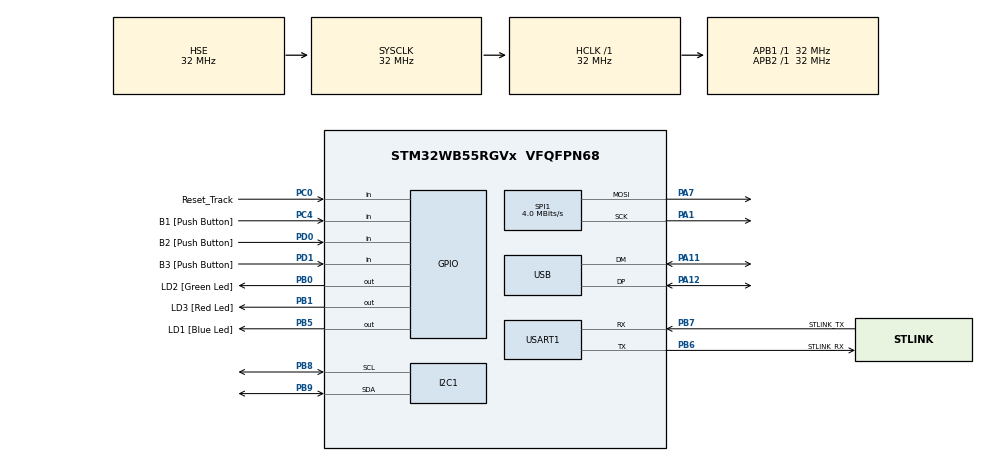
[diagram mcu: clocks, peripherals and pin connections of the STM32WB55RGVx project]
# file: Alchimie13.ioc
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Dma.Request0=SPI1_TX
Dma.SPI1_TX.0.Direction=DMA_MEMORY_TO_PERIPH
Dma.SPI1_TX.0.EventEnable=DISABLE
Dma.SPI1_TX.0.Instance=DMA1_Channel1
Dma.SPI1_TX.0.MemDataAlignment=DMA_MDATAALIGN_BYTE
Dma.SPI1_TX.0.MemInc=DMA_MINC_ENABLE
Dma.SPI1_TX.0.Mode=DMA_NORMAL
Dma.SPI1_TX.0.PeriphDataAlignment=DMA_PDATAALIGN_BYTE
Dma.SPI1_TX.0.PeriphInc=DMA_PINC_DISABLE
Dma.SPI1_TX.0.Polarity=HAL_DMAMUX_REQ_GEN_RISING
Dma.SPI1_TX.0.Priority=DMA_PRIORITY_VERY_HIGH
Dma.SPI1_TX.0.RequestNumber=1
Dma.SPI1_TX.0.SignalID=NONE
Dma.SPI1_TX.0.SyncEnable=DISABLE
Dma.SPI1_TX.0.SyncPolarity=HAL_DMAMUX_SYNC_NO_EVENT
Dma.SPI1_TX.0.SyncRequestNumber=1
Dma.SPI1_TX.0.SyncSignalID=NONE
I2C1.Timing=0x00707CBB
Mcu.Family=STM32WB
Mcu.Name=STM32WB55RGVx
Mcu.Package=VFQFPN68
NVIC.DMA1_Channel1_IRQn=true\:0\:0\:false\:false\:true\:false\:true
NVIC.PriorityGroup=NVIC_PRIORITYGROUP_4
OSC_IN.Mode=HSE-External-Oscillator
OSC_IN.Signal=RCC_OSC_IN
OSC_OUT.Mode=HSE-External-Oscillator
OSC_OUT.Signal=RCC_OSC_OUT
PA1.GPIO_Speed=GPIO_SPEED_FREQ_VERY_HIGH
PA1.Mode=TX_Only_Simplex_Unidirect_Master
PA1.Signal=SPI1_SCK
PA11.Mode=Device
PA11.Signal=USB_DM
PA12.Mode=Device
PA12.Signal=USB_DP
PA13.GPIO_Label=JTMS
PA13.Mode=Trace_Asynchronous_SW
PA13.Signal=SYS_JTMS-SWDIO
PA14.GPIO_Label=JTCK
PA14.Mode=Trace_Asynchronous_SW
PA14.Signal=SYS_JTCK-SWCLK
PA7.GPIO_Speed=GPIO_SPEED_FREQ_VERY_HIGH
PA7.Mode=TX_Only_Simplex_Unidirect_Master
PA7.Signal=SPI1_MOSI
PB0.GPIO_Label=LD2 [Green Led]
PB0.Signal=GPIO_Output
PB1.GPIO_Label=LD3 [Red Led]
PB1.Signal=GPIO_Output
PB3.GPIO_Label=JTDO
PB3.Mode=Trace_Asynchronous_SW
PB3.Signal=SYS_JTDO-SWO
PB5.GPIO_Label=LD1 [Blue Led]
PB5.Signal=GPIO_Output
PB6.GPIO_Label=STLINK_RX
PB6.Mode=Asynchronous
PB6.Signal=USART1_TX
PB7.GPIO_Label=STLINK_TX
PB7.Mode=Asynchronous
PB7.Signal=USART1_RX
PB8.Mode=I2C
PB8.Signal=I2C1_SCL
PB9.Mode=I2C
PB9.Signal=I2C1_SDA
PC0.GPIO_Label=Reset_Track
PC0.GPIO_Mode=GPIO_MODE_INPUT
PC0.GPIO_PuPd=GPIO_PULLDOWN
PC0.Signal=GPIO_Input
PC13.Mode=SYS_WakeUp1
PC13.Signal=SYS_WKUP2
PC14-OSC32_IN.Mode=LSE-External-Oscillator
PC14-OSC32_IN.Signal=RCC_OSC32_IN
PC15-OSC32_OUT.Mode=LSE-External-Oscillator
PC15-OSC32_OUT.Signal=RCC_OSC32_OUT
PC4.GPIO_Label=B1 [Push Button]
PC4.Signal=GPIO_Input
PD0.GPIO_Label=B2 [Push Button]
PD0.Signal=GPIO_Input
PD1.GPIO_Label=B3 [Push Button]
PD1.Signal=GPIO_Input
ProjectManager.HeapSize=0x200
ProjectManager.StackSize=0x400
ProjectManager.TargetToolchain=TrueSTUDIO
RCC.ADCFreq_Value=48000000
RCC.AHBFreq_Value=32000000
RCC.APB1Freq_Value=32000000
RCC.APB1TimFreq_Value=32000000
RCC.APB2Freq_Value=32000000
RCC.APB2TimFreq_Value=32000000
RCC.APB3Freq_Value=16000000
RCC.CortexFreq_Value=32000000
RCC.HCLKFreq_Value=32000000
RCC.HSE_VALUE=32000000
RCC.HSI48_VALUE=48000000
RCC.HSI_VALUE=16000000
RCC.PLLN=32
RCC.PLLSAI1N=24
RCC.SMPSCLockSelectionVirtual=RCC_SMPSCLKSOURCE_HSI
RCC.SYSCLKFreq_VALUE=32000000
RCC.SYSCLKSource=RCC_SYSCLKSOURCE_HSE
RCC.USBFreq_Value=48000000
RCC.VCOOutputFreq_Value=128000000
SPI1.BaudRatePrescaler=SPI_BAUDRATEPRESCALER_8
SPI1.CLKPhase=SPI_PHASE_2EDGE
SPI1.CalculateBaudRate=4.0 MBits/s
SPI1.DataSize=SPI_DATASIZE_8BIT
SPI1.Direction=SPI_DIRECTION_2LINES
SPI1.Mode=SPI_MODE_MASTER
SPI1.VirtualType=VM_MASTER
USART1.VirtualMode-Asynchronous=VM_ASYNC
board=P-NUCLEO-WB55-Nucleo

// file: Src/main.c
/* USER CODE BEGIN Header */
/**
  ******************************************************************************
  * @file           : main.c
  * @brief          : Main program body
  ******************************************************************************
  * @attention
  *
  * <h2><center>&copy; Copyright (c) 2019 STMicroelectronics.
  * All rights reserved.</center></h2>
  *
  * This software component is licensed by ST under BSD 3-Clause license,
  * the "License"; You may not use this file except in compliance with the
  * License. You may obtain a copy of the License at:
  *                        opensource.org/licenses/BSD-3-Clause
  *
  ******************************************************************************
  */
/* USER CODE END Header */

#include "main.h"

/* USER CODE BEGIN Includes */

#include "segments.h"
#include "leds.h"
#include "pattern.h"

/* USER CODE END Includes */

I2C_HandleTypeDef hi2c1;

SPI_HandleTypeDef hspi1;
DMA_HandleTypeDef hdma_spi1_tx;

UART_HandleTypeDef huart1;

PCD_HandleTypeDef hpcd_USB_FS;

/* USER CODE BEGIN PV */

int scoreRed = 0;
int scoreYellow = 0;
int redPressed = 0;
int yellowPressed = 0;

int patternOffset = 0;

/* USER CODE END PV */

void SystemClock_Config(void);
static void MX_GPIO_Init(void);
static void MX_DMA_Init(void);
static void MX_USART1_UART_Init(void);
static void MX_USB_PCD_Init(void);
static void MX_I2C1_Init(void);
static void MX_SPI1_Init(void);

/* USER CODE BEGIN 0 */

void resetAll() {
	patternOffset = 0;
	leds_resetNotes();
}

void initLedColors() {
	int col=16;
	int colBoost = 24;
	  for(int led=0; led<4; ++led) {
		  setLedColor(0+led, col, 0, 0);
		  setLedColor(4+led, 0, col, 0);
		  setLedColor(8+led, 0, 0, colBoost);
		  setLedColor(12+led, col, 0, col);
		  setLedColor(16+led, 0, col, col);
		  setLedColor(20+led, col, col, 0);
	  }
}

void printScore() {
	char text[4] = {' ', ' ', ' ', ' '};
	int left = scoreRed % 10;
	int right = scoreYellow % 10;
	text[0] = '0' + left;
	text[3] = '0' + right;
	segments_print(&hi2c1, 0x70, text);
}

printNotes() {
	char text[4] = {' ', ' ', ' ', ' '};
	for(int i=0; i<4; ++i) {
		int note = pattern[patternOffset+i];
		if (note > 0) {
			text[i] = '-';
		}
	}
	segments_print(&hi2c1, 0x70, text);
}

/* USER CODE END 0 */

int main(void)
{

  /* MCU Configuration--------------------------------------------------------*/

  /* Reset of all peripherals, Initializes the Flash interface and the Systick. */
  HAL_Init();

  /* Configure the system clock */
  SystemClock_Config();

  /* Initialize all configured peripherals */
  MX_GPIO_Init();
  MX_DMA_Init();
  MX_USART1_UART_Init();
  MX_USB_PCD_Init();
  MX_I2C1_Init();
  MX_SPI1_Init();
  /* USER CODE BEGIN 2 */

  segments_init(&hi2c1, 0x70);
  printScore();

  resetLeds();
//  initLedColors();
  updateLeds(&hspi1);

  /* USER CODE END 2 */

  /* Infinite loop */
  /* USER CODE BEGIN WHILE */

  int speed = 2;

  int waitValue = (140 - 3)/speed;

  int skip4 = 0;

  while (1)
  {
	  for(int i=0; i<speed; ++i) {
		  HAL_Delay(waitValue);
		  for(int voice=0; voice<4; ++voice) {
			  leds_scrollNote(voice);
		  }
	  }

	  printNotes();

	  if (skip4 == 0) {
		  for(int voice=0; voice<4; ++voice) {
//			  if (pattern[patternOffset + voice] > 0) {
				  leds_playNote(voice);
//			  }
		  }
	  }
	  skip4 = ((skip4 + 1) & 3);

	  patternOffset += 4;
	  if (patternOffset >= sizeof(pattern) / sizeof(int)) {
		  patternOffset = 0;
	  }
	  updateLeds(&hspi1);
		//rotateLeds();

	  GPIO_PinState resetButton = HAL_GPIO_ReadPin(Reset_Track_GPIO_Port, Reset_Track_Pin);
	  while(resetButton == GPIO_PIN_SET) {
		  resetButton = HAL_GPIO_ReadPin(Reset_Track_GPIO_Port, Reset_Track_Pin);
		  resetAll();
		  HAL_Delay(1);
	  }

	  //scoreRed = ((scoreRed + 1) % 10);
	  //printScore();

    /* USER CODE END WHILE */

  }
}

void SystemClock_Config(void)
{
  RCC_OscInitTypeDef RCC_OscInitStruct = {0};
  RCC_ClkInitTypeDef RCC_ClkInitStruct = {0};
  RCC_PeriphCLKInitTypeDef PeriphClkInitStruct = {0};

  /** Macro to configure the PLL multiplication factor
  */
  __HAL_RCC_PLL_PLLM_CONFIG(RCC_PLLM_DIV1);
  /** Macro to configure the PLL clock source
  */
  __HAL_RCC_PLL_PLLSOURCE_CONFIG(RCC_PLLSOURCE_MSI);
  /** Configure LSE Drive Capability
  */
  __HAL_RCC_LSEDRIVE_CONFIG(RCC_LSEDRIVE_LOW);
  /** Configure the main internal regulator output voltage
  */
  __HAL_PWR_VOLTAGESCALING_CONFIG(PWR_REGULATOR_VOLTAGE_SCALE1);
  /** Initializes the CPU, AHB and APB busses clocks
  */
  RCC_OscInitStruct.OscillatorType = RCC_OSCILLATORTYPE_HSI|RCC_OSCILLATORTYPE_HSE
                              |RCC_OSCILLATORTYPE_LSE|RCC_OSCILLATORTYPE_MSI;
  RCC_OscInitStruct.HSEState = RCC_HSE_ON;
  RCC_OscInitStruct.LSEState = RCC_LSE_ON;
  RCC_OscInitStruct.HSIState = RCC_HSI_ON;
  RCC_OscInitStruct.MSIState = RCC_MSI_ON;
  RCC_OscInitStruct.HSICalibrationValue = RCC_HSICALIBRATION_DEFAULT;
  RCC_OscInitStruct.MSICalibrationValue = RCC_MSICALIBRATION_DEFAULT;
  RCC_OscInitStruct.MSIClockRange = RCC_MSIRANGE_6;
  RCC_OscInitStruct.PLL.PLLState = RCC_PLL_NONE;
  if (HAL_RCC_OscConfig(&RCC_OscInitStruct) != HAL_OK)
  {
    Error_Handler();
  }
  /** Configure the SYSCLKSource, HCLK, PCLK1 and PCLK2 clocks dividers
  */
  RCC_ClkInitStruct.ClockType = RCC_CLOCKTYPE_HCLK4|RCC_CLOCKTYPE_HCLK2
                              |RCC_CLOCKTYPE_HCLK|RCC_CLOCKTYPE_SYSCLK
                              |RCC_CLOCKTYPE_PCLK1|RCC_CLOCKTYPE_PCLK2;
  RCC_ClkInitStruct.SYSCLKSource = RCC_SYSCLKSOURCE_HSE;
  RCC_ClkInitStruct.AHBCLKDivider = RCC_SYSCLK_DIV1;
  RCC_ClkInitStruct.APB1CLKDivider = RCC_HCLK_DIV1;
  RCC_ClkInitStruct.APB2CLKDivider = RCC_HCLK_DIV1;
  RCC_ClkInitStruct.AHBCLK2Divider = RCC_SYSCLK_DIV1;
  RCC_ClkInitStruct.AHBCLK4Divider = RCC_SYSCLK_DIV1;

  if (HAL_RCC_ClockConfig(&RCC_ClkInitStruct, FLASH_LATENCY_1) != HAL_OK)
  {
    Error_Handler();
  }
  /** Initializes the peripherals clocks
  */
  PeriphClkInitStruct.PeriphClockSelection = RCC_PERIPHCLK_SMPS|RCC_PERIPHCLK_USART1
                              |RCC_PERIPHCLK_I2C1|RCC_PERIPHCLK_USB;
  PeriphClkInitStruct.PLLSAI1.PLLN = 24;
  PeriphClkInitStruct.PLLSAI1.PLLP = RCC_PLLP_DIV2;
  PeriphClkInitStruct.PLLSAI1.PLLQ = RCC_PLLQ_DIV2;
  PeriphClkInitStruct.PLLSAI1.PLLR = RCC_PLLR_DIV2;
  PeriphClkInitStruct.PLLSAI1.PLLSAI1ClockOut = RCC_PLLSAI1_USBCLK;
  PeriphClkInitStruct.Usart1ClockSelection = RCC_USART1CLKSOURCE_PCLK2;
  PeriphClkInitStruct.I2c1ClockSelection = RCC_I2C1CLKSOURCE_PCLK1;
  PeriphClkInitStruct.UsbClockSelection = RCC_USBCLKSOURCE_PLLSAI1;
  PeriphClkInitStruct.SmpsClockSelection = RCC_SMPSCLKSOURCE_HSI;
  PeriphClkInitStruct.SmpsDivSelection = RCC_SMPSCLKDIV_RANGE1;

  if (HAL_RCCEx_PeriphCLKConfig(&PeriphClkInitStruct) != HAL_OK)
  {
    Error_Handler();
  }
  /** Enable MSI Auto calibration
  */
  HAL_RCCEx_EnableMSIPLLMode();
}

static void MX_I2C1_Init(void)
{

  hi2c1.Instance = I2C1;
  hi2c1.Init.Timing = 0x00707CBB;
  hi2c1.Init.OwnAddress1 = 0;
  hi2c1.Init.AddressingMode = I2C_ADDRESSINGMODE_7BIT;
  hi2c1.Init.DualAddressMode = I2C_DUALADDRESS_DISABLE;
  hi2c1.Init.OwnAddress2 = 0;
  hi2c1.Init.OwnAddress2Masks = I2C_OA2_NOMASK;
  hi2c1.Init.GeneralCallMode = I2C_GENERALCALL_DISABLE;
  hi2c1.Init.NoStretchMode = I2C_NOSTRETCH_DISABLE;
  if (HAL_I2C_Init(&hi2c1) != HAL_OK)
  {
    Error_Handler();
  }
  /** Configure Analogue filter
  */
  if (HAL_I2CEx_ConfigAnalogFilter(&hi2c1, I2C_ANALOGFILTER_ENABLE) != HAL_OK)
  {
    Error_Handler();
  }
  /** Configure Digital filter
  */
  if (HAL_I2CEx_ConfigDigitalFilter(&hi2c1, 0) != HAL_OK)
  {
    Error_Handler();
  }

}

static void MX_SPI1_Init(void)
{

  /* SPI1 parameter configuration*/
  hspi1.Instance = SPI1;
  hspi1.Init.Mode = SPI_MODE_MASTER;
  hspi1.Init.Direction = SPI_DIRECTION_2LINES;
  hspi1.Init.DataSize = SPI_DATASIZE_8BIT;
  hspi1.Init.CLKPolarity = SPI_POLARITY_LOW;
  hspi1.Init.CLKPhase = SPI_PHASE_2EDGE;
  hspi1.Init.NSS = SPI_NSS_SOFT;
  hspi1.Init.BaudRatePrescaler = SPI_BAUDRATEPRESCALER_8;
  hspi1.Init.FirstBit = SPI_FIRSTBIT_MSB;
  hspi1.Init.TIMode = SPI_TIMODE_DISABLE;
  hspi1.Init.CRCCalculation = SPI_CRCCALCULATION_DISABLE;
  hspi1.Init.CRCPolynomial = 7;
  hspi1.Init.CRCLength = SPI_CRC_LENGTH_DATASIZE;
  hspi1.Init.NSSPMode = SPI_NSS_PULSE_DISABLE;
  if (HAL_SPI_Init(&hspi1) != HAL_OK)
  {
    Error_Handler();
  }

}

static void MX_USART1_UART_Init(void)
{

  huart1.Instance = USART1;
  huart1.Init.BaudRate = 115200;
  huart1.Init.WordLength = UART_WORDLENGTH_7B;
  huart1.Init.StopBits = UART_STOPBITS_1;
  huart1.Init.Parity = UART_PARITY_NONE;
  huart1.Init.Mode = UART_MODE_TX_RX;
  huart1.Init.HwFlowCtl = UART_HWCONTROL_NONE;
  huart1.Init.OverSampling = UART_OVERSAMPLING_16;
  huart1.Init.OneBitSampling = UART_ONE_BIT_SAMPLE_DISABLE;
  huart1.Init.ClockPrescaler = UART_PRESCALER_DIV1;
  huart1.AdvancedInit.AdvFeatureInit = UART_ADVFEATURE_NO_INIT;
  if (HAL_UART_Init(&huart1) != HAL_OK)
  {
    Error_Handler();
  }
  if (HAL_UARTEx_SetTxFifoThreshold(&huart1, UART_TXFIFO_THRESHOLD_1_8) != HAL_OK)
  {
    Error_Handler();
  }
  if (HAL_UARTEx_SetRxFifoThreshold(&huart1, UART_RXFIFO_THRESHOLD_1_8) != HAL_OK)
  {
    Error_Handler();
  }
  if (HAL_UARTEx_DisableFifoMode(&huart1) != HAL_OK)
  {
    Error_Handler();
  }

}

static void MX_USB_PCD_Init(void)
{

  hpcd_USB_FS.Instance = USB;
  hpcd_USB_FS.Init.dev_endpoints = 8;
  hpcd_USB_FS.Init.speed = PCD_SPEED_FULL;
  hpcd_USB_FS.Init.phy_itface = PCD_PHY_EMBEDDED;
  hpcd_USB_FS.Init.Sof_enable = DISABLE;
  hpcd_USB_FS.Init.low_power_enable = DISABLE;
  hpcd_USB_FS.Init.lpm_enable = DISABLE;
  hpcd_USB_FS.Init.battery_charging_enable = DISABLE;
  if (HAL_PCD_Init(&hpcd_USB_FS) != HAL_OK)
  {
    Error_Handler();
  }

}

static void MX_DMA_Init(void)
{

  /* DMA controller clock enable */
  __HAL_RCC_DMAMUX1_CLK_ENABLE();
  __HAL_RCC_DMA1_CLK_ENABLE();

  /* DMA interrupt init */
  /* DMA1_Channel1_IRQn interrupt configuration */
  HAL_NVIC_SetPriority(DMA1_Channel1_IRQn, 0, 0);
  HAL_NVIC_EnableIRQ(DMA1_Channel1_IRQn);

}

static void MX_GPIO_Init(void)
{
  GPIO_InitTypeDef GPIO_InitStruct = {0};

  /* GPIO Ports Clock Enable */
  __HAL_RCC_GPIOC_CLK_ENABLE();
  __HAL_RCC_GPIOB_CLK_ENABLE();
  __HAL_RCC_GPIOA_CLK_ENABLE();
  __HAL_RCC_GPIOD_CLK_ENABLE();

  /*Configure GPIO pin Output Level */
  HAL_GPIO_WritePin(GPIOB, LD2_Pin|LD3_Pin|LD1_Pin, GPIO_PIN_RESET);

  /*Configure GPIO pin : Reset_Track_Pin */
  GPIO_InitStruct.Pin = Reset_Track_Pin;
  GPIO_InitStruct.Mode = GPIO_MODE_INPUT;
  GPIO_InitStruct.Pull = GPIO_PULLDOWN;
  HAL_GPIO_Init(Reset_Track_GPIO_Port, &GPIO_InitStruct);

  /*Configure GPIO pin : B1_Pin */
  GPIO_InitStruct.Pin = B1_Pin;
  GPIO_InitStruct.Mode = GPIO_MODE_INPUT;
  GPIO_InitStruct.Pull = GPIO_NOPULL;
  HAL_GPIO_Init(B1_GPIO_Port, &GPIO_InitStruct);

  /*Configure GPIO pins : LD2_Pin LD3_Pin LD1_Pin */
  GPIO_InitStruct.Pin = LD2_Pin|LD3_Pin|LD1_Pin;
  GPIO_InitStruct.Mode = GPIO_MODE_OUTPUT_PP;
  GPIO_InitStruct.Pull = GPIO_NOPULL;
  GPIO_InitStruct.Speed = GPIO_SPEED_FREQ_LOW;
  HAL_GPIO_Init(GPIOB, &GPIO_InitStruct);

  /*Configure GPIO pins : B2_Pin B3_Pin */
  GPIO_InitStruct.Pin = B2_Pin|B3_Pin;
  GPIO_InitStruct.Mode = GPIO_MODE_INPUT;
  GPIO_InitStruct.Pull = GPIO_NOPULL;
  HAL_GPIO_Init(GPIOD, &GPIO_InitStruct);

}

void Error_Handler(void)
{
}

/************************ (C) COPYRIGHT STMicroelectronics *****END OF FILE****/
